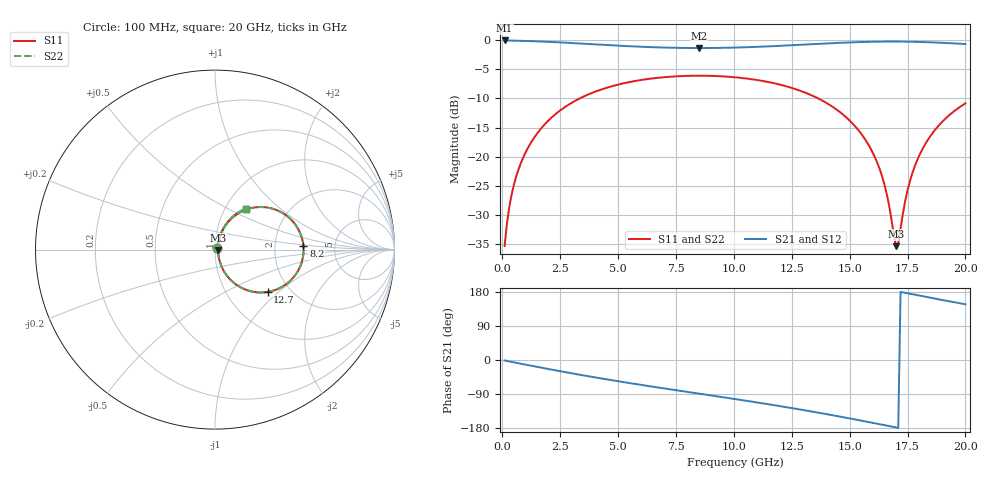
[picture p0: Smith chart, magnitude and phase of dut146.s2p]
! Touchstone file exported from HFSS 2026.1.0
!  File:  C:/ffzhzh/LocalFiles/Ansys_Project_Files/temp_train_TSV_RDL_146_1783051470_17544.aedt
!  Generated:  12:16:07 PM Jul  3, 2026
!  Design:  TSV_RDL
!  Project:  temp_train_TSV_RDL_146_1783051470_17544
! Variables:
!  h_bsmrdl = 2.85um
!  h_ox = 20um
!  h_rdl = 5um
!  h_sub = 96.39um
!  h_tmrdl = 5.53um
!  h_tsv = 96.39um
!  h_via = 3um
!  l_bsmrdl = 716.3um
!  l_sub = 3333.11um
!  l_tmrdl = 156.43um
!  m_sub = 200um
!  pitch = 59.5um
!  r_tsv = 13um
!  s_tmrdl = 10um
!  w_bsmrdl = 26.56um
!  w_sub = 500um
!  w_tmrdl = 26.27um
!  x_tsv_center1 = 169.565um
!  x_tsv_center2 = 912.425um
!  x_tsv_center3 = 1095.125um
!  x_tsv_center4 = 1837.985um
!  x_tsv_center5 = 2020.685um
!  x_tsv_center6 = 2763.545um
# GHz S MA R 50.000000
! Terminal data exported
! Port[1] = TM_RDL1_1_T1
! Port[2] = TM_RDL5_1_T1
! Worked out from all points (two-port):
!   200 points, 100 MHz to 20 GHz, reference 50 ohm
!   highest |S21| = -0.11 dB at 100 MHz (marker M1); lowest = -1.4 dB at 8.5 GHz (marker M2)
!   |S21| within 3 dB of the highest: start of sweep to end of sweep
!   lowest |S11| = -35.3 dB at 17 GHz (marker M3), VSWR 1.04, Z = 51.7 - j0.352 ohm
!   |S11| at or under -10 dB: start of sweep to 3.356 GHz; 13.63 GHz to end of sweep
!   |S22| runs from -35.3 to -6.1 dB; largest |S21 - S12| = 2e-14
!   S11 on the Smith chart (normalised r, x): 100 MHz: 1.03, +0.02; 8.2 GHz: 2.93, +0.16; 12.7 GHz: 1.55, -0.85; 20 GHz: 1.25, +0.62
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0.1  0.01724 41.7  0.9873 -1.3  0.9873 -1.3  0.01724 41.7
! Gamma 0 0 0 0
! Port Impedance 50 0 50 0
0.3  0.03694 64.0  0.9855 -3.8  0.9855 -3.8  0.03694 64.0
0.5  0.05747 68.6  0.9833 -6.2  0.9833 -6.2  0.05747 68.6
1.1  0.1183 68.6  0.9763 -13.4  0.9763 -13.4  0.1183 68.6
2.1  0.214 60.2  0.9591 -25.1  0.9591 -25.1  0.214 60.2
3.5  0.3265 46.2  0.9264 -40.6  0.9264 -40.6  0.3265 46.2
6.8  0.4752 14.8  0.8606 -73.3  0.8606 -73.3  0.4752 14.8
8.2  0.4929 2.4  0.8507 -86.1  0.8507 -86.1  0.4929 2.4
8.5  0.4934 -0.3  0.8503 -88.8  0.8503 -88.8  0.4934 -0.3
10.1  0.4772 -14.5  0.8586 -103.5  0.8586 -103.5  0.4771 -14.5
12.7  0.3766 -38.8  0.9027 -128.9  0.9027 -128.9  0.3766 -38.8
13.4  0.3324 -45.7  0.918 -136.3  0.918 -136.3  0.3324 -45.7
14.7  0.2308 -58.5  0.9448 -150.7  0.9448 -150.7  0.2308 -58.5
15.6  0.1476 -66.4  0.9585 -161.1  0.9585 -161.1  0.1476 -66.4
16.3  0.07823 -68.7  0.9647 -169.5  0.9647 -169.5  0.0782 -68.7
16.7  0.0388 -60.1  0.966 -174.3  0.966 -174.3  0.03876 -60.1
17  0.0172 -11.4  0.966 -177.9  0.966 -177.9  0.01715 -11.3
17.1  0.01818 21.7  0.9657 -179.1  0.9657 -179.1  0.01815 21.9
17.6  0.06147 67.7  0.963 174.9  0.963 174.9  0.06148 67.8
18.1  0.1118 69.1  0.9578 168.9  0.9578 168.9  0.1118 69.1
18.9  0.1898 63.4  0.9448 159.5  0.9448 159.5  0.1898 63.4
20  0.286 52.9  0.9203 147.0  0.9203 147.0  0.286 52.9
